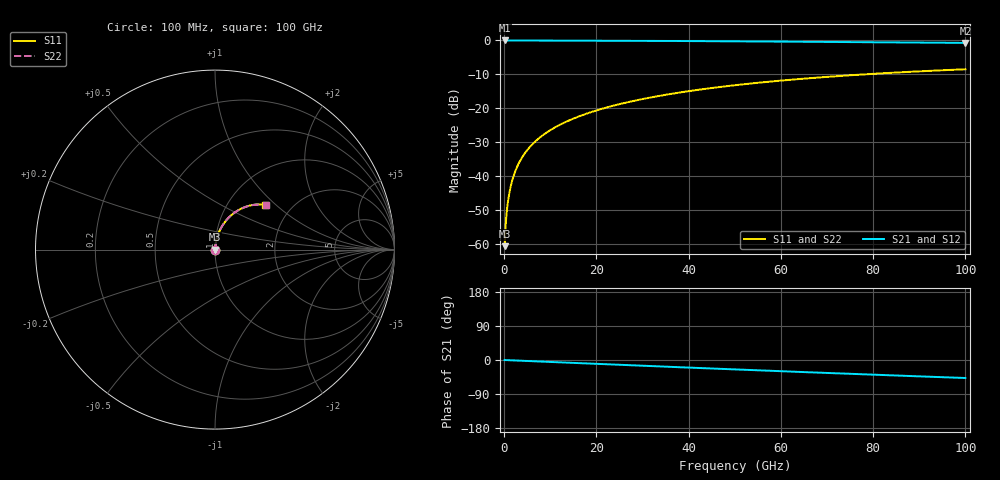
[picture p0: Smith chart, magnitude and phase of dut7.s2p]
! Touchstone file exported from HFSS 2026.1.0
!  File:  C:/ffzhzh/LocalFiles/Ansys_Project_Files/temp_train_RDL_7_1783497594_44152.aedt
!  Generated:  04:01:00 PM Jul  8, 2026
!  Design:  RDL
!  Project:  temp_train_RDL_7_1783497594_44152
! Variables:
!  h_bsmrdl = 2um
!  h_ox = 20um
!  h_rdl = 5um
!  h_sub = 80um
!  h_tmrdl = 3.56um
!  h_tsv = 80um
!  h_via = 3um
!  l_bsmrdl = 300um
!  l_sub = 523.13um
!  l_tmrdl = 123.13um
!  m_sub = 200um
!  pitch = 42.74um
!  r_tsv = 6um
!  s_tmrdl = 10um
!  w_bsmrdl = 18um
!  w_sub = 500um
!  w_tmrdl = 23.07um
!  x_tsv_center1 = 134.665um
!  x_tsv_center2 = 452.665um
!  x_tsv_center3 = 598.865um
!  x_tsv_center4 = 916.865um
!  x_tsv_center5 = 1063.065um
!  x_tsv_center6 = 1381.065um
# GHz S MA R 50.000000
! Terminal data exported
! Port[1] = TM_RDL1_1_T1
! Port[2] = TM_RDL1_1_T2
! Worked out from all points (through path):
!   1000 points, 100 MHz to 100 GHz, reference 50 ohm
!   highest |S21| = -0.01 dB at 100 MHz (marker M1); lowest = -0.7 dB at 100 GHz (marker M2)
!   group delay of S21, straight-line fit = 1.32 ps
!   lowest |S11| = -60.6 dB at 100 MHz (marker M3), VSWR 1.00, Z = 50.1 + j0.055 ohm
!   |S11| at or under -10 dB: start of sweep to 77.95 GHz
!   |S22| runs from -60.6 to -8.5 dB; largest |S21 - S12| = 2.7e-15
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0.1  0.0009374 35.9  0.9992 -0.1  0.9992 -0.1  0.0009374 35.9
! Gamma 0 0 0 0
! Port Impedance 50 0 50 0
0.3  0.001793 61.9  0.9992 -0.2  0.9992 -0.2  0.001793 61.9
0.7  0.003648 74.8  0.9991 -0.4  0.9991 -0.4  0.003648 74.8
0.9  0.004594 77.5  0.999 -0.5  0.999 -0.5  0.004594 77.5
1.2  0.006027 79.9  0.999 -0.6  0.999 -0.6  0.006027 79.9
1.5  0.007471 81.4  0.999 -0.8  0.999 -0.8  0.007471 81.4
2  0.009887 82.8  0.9989 -1.0  0.9989 -1.0  0.009887 82.8
2.6  0.01279 83.6  0.9988 -1.4  0.9988 -1.4  0.01279 83.6
3.3  0.01617 84.0  0.9987 -1.7  0.9987 -1.7  0.01617 84.0
4.1  0.02001 84.1  0.9985 -2.1  0.9985 -2.1  0.02001 84.1
5.1  0.02479 83.9  0.9982 -2.6  0.9982 -2.6  0.02479 83.9
6.2  0.03 83.6  0.9979 -3.2  0.9979 -3.2  0.03 83.6
9  0.04311 82.6  0.997 -4.6  0.997 -4.6  0.04311 82.6
12.5  0.05926 81.1  0.9957 -6.4  0.9957 -6.4  0.05926 81.1
16.8  0.07882 79.2  0.9938 -8.6  0.9938 -8.6  0.07882 79.2
24.2  0.1119 75.9  0.99 -12.3  0.99 -12.3  0.1119 75.8
33.4  0.1517 71.6  0.9841 -16.8  0.9841 -16.8  0.1517 71.6
41.2  0.1842 67.9  0.9782 -20.6  0.9782 -20.6  0.1842 67.9
50.1  0.2195 63.8  0.9705 -24.9  0.9705 -24.9  0.2195 63.7
66.7  0.2798 56.2  0.9543 -32.7  0.9543 -32.7  0.2798 56.1
83.4  0.3325 48.8  0.9369 -40.3  0.9369 -40.3  0.3325 48.7
100  0.3763 41.6  0.92 -47.5  0.92 -47.5  0.3763 41.5
